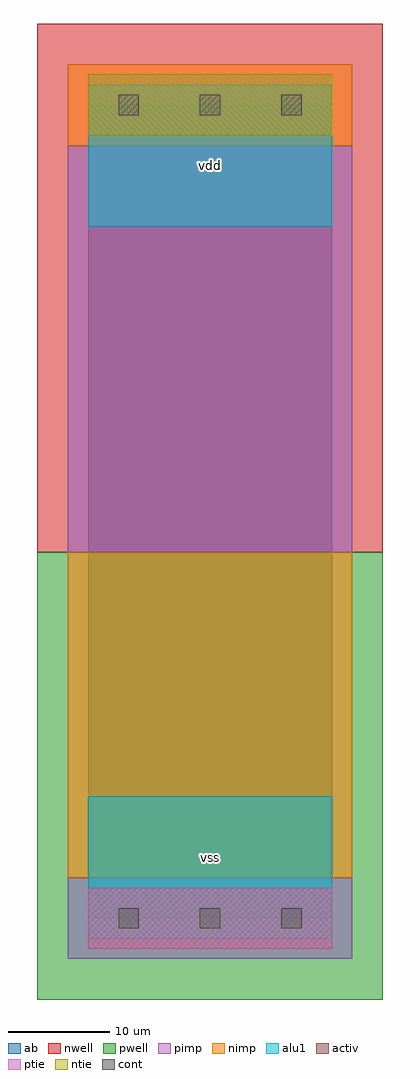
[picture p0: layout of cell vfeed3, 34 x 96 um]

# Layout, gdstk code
import gdstk
lib = gdstk.Library(unit=1e-6, precision=1e-09)
def R(c, l, rs):  # rectangles x0, y0, x1, y1
    for r in rs: c.add(gdstk.rectangle(r[:2], r[2:], *l))
def A(c, l, x, y, w, h, nx, ny, dx, dy):  # array of equal rectangles
    R(c, l, [(x+i*dx, y+j*dy, x+i*dx+w, y+j*dy+h) for i in range(nx) for j in range(ny)])
ntie = (5, 0)
ptie = (6, 0)
cont = (25, 0)
pwell = (41, 0)
nwell = (42, 0)
activ = (43, 0)
pimp = (44, 0)
nimp = (45, 0)
alu1 = (49, 0)
ab = (63, 0)

vfeed3 = lib.new_cell('vfeed3')
R(vfeed3, ntie, [(0,77,24,83)])
R(vfeed3, ptie, [(0,-3,24,3)])
A(vfeed3, cont, 3, -1, 2, 2, 3, 2, 8, 80)
R(vfeed3, pwell, [(-5,-8,29,36)])
R(vfeed3, nwell, [(-5,36,29,88)])
R(vfeed3, activ, [(0,-3,24,3), (0,77,24,83)])
R(vfeed3, pimp, [(-2,-4,26,4), (-2,36,26,76)])
R(vfeed3, nimp, [(-2,4,26,36), (-2,76,26,84)])
R(vfeed3, alu1, [(0,-2,24,12), (0,68,24,82)])
R(vfeed3, ab, [(0,0,24,80)])
vfeed3.add(gdstk.Label('vss', (12,6), layer=49, texttype=0))
vfeed3.add(gdstk.Label('vdd', (12,74), layer=49, texttype=0))

lib.write_gds('vfeed3.gds')
